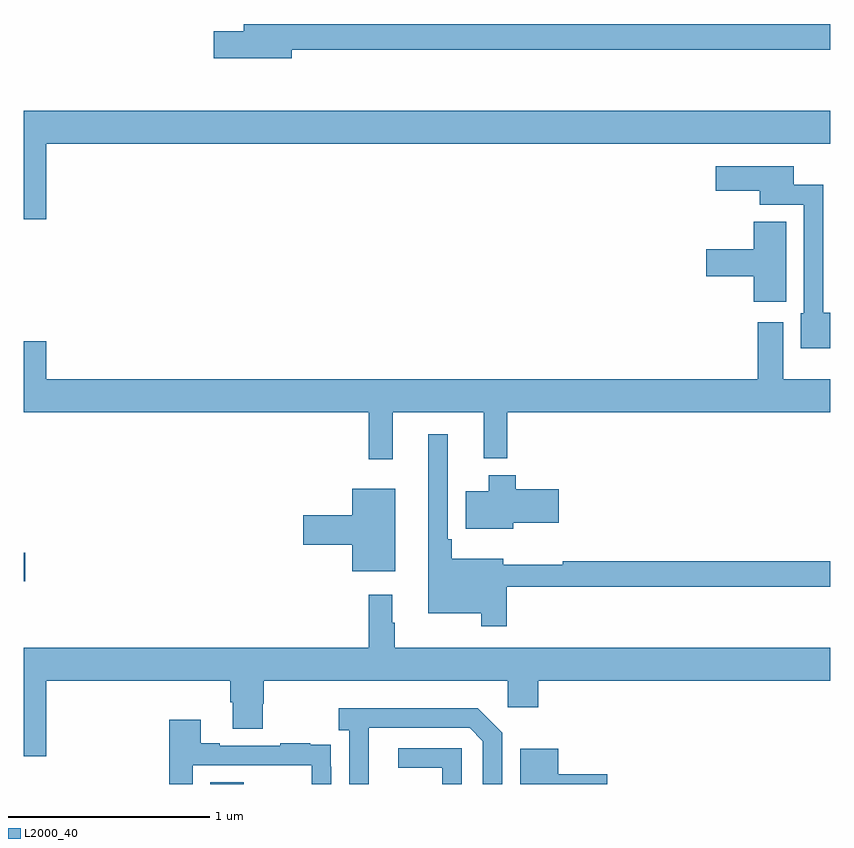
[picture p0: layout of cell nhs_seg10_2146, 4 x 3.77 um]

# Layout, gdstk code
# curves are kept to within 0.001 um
import gdstk
lib = gdstk.Library(unit=1e-6, precision=1e-09)
def R(c, l, rs):  # rectangles x0, y0, x1, y1
    for r in rs: c.add(gdstk.rectangle(r[:2], r[2:], *l))
def P(c, l, *ps):  # polygons
    for p in ps: c.add(gdstk.Polygon(p, *l))
L2000_40 = (2000, 40)

nhs_seg10_2146 = lib.new_cell('nhs_seg10_2146')
R(nhs_seg10_2146, L2000_40, [(225.926,1270.5,226.09,1270.508), (225,1271.506,225.007,1271.648)])
P(nhs_seg10_2146, L2000_40, [(226.33,1274.142),(229,1274.142),(229,1274.27),(226.091,1274.27),(226.091,1274.234),(225.942,1274.234),(225.942,1274.099),(226.33,1274.099)],
  [(225.112,1273.676),(229,1273.676),(229,1273.84),(225,1273.84),(225,1273.302),(225.112,1273.302)],
  [(229,1272.838),(228.966,1272.838),(228.966,1273.472),(228.82,1273.472),(228.82,1273.564),(228.432,1273.564),(228.432,1273.442),(228.65,1273.442),(228.65,1273.374),(228.87,1273.374),(228.87,1272.834),(228.854,1272.834),(228.854,1272.662),(229,1272.662)],
  [(228.781,1273.289),(228.62,1273.289),(228.62,1273.153),(228.384,1273.153),(228.384,1273.019),(228.62,1273.019),(228.62,1272.891),(228.781,1272.891)],
  [(226.829,1272.344),(227.282,1272.344),(227.282,1272.116),(227.399,1272.116),(227.399,1272.344),(229,1272.344),(229,1272.508),(228.766,1272.508),(228.766,1272.79),(228.641,1272.79),(228.641,1272.508),(225.112,1272.508),(225.112,1272.697),(225,1272.697),(225,1272.344),(226.711,1272.344),(226.711,1272.111),(226.829,1272.111)],
  [(227.396,1271.478),(229,1271.478),(229,1271.606),(227.673,1271.606),(227.673,1271.588),(227.377,1271.588),(227.377,1271.617),(227.123,1271.617),(227.123,1271.713),(227.103,1271.713),(227.103,1272.235),(227.006,1272.235),(227.006,1271.348),(227.268,1271.348),(227.268,1271.283),(227.396,1271.283)],
  [(227.428,1271.795),(227.653,1271.795),(227.653,1271.961),(227.441,1271.961),(227.441,1272.031),(227.306,1272.031),(227.306,1271.953),(227.192,1271.953),(227.192,1271.765),(227.428,1271.765)],
  [(226.843,1271.965),(226.628,1271.965),(226.628,1271.834),(226.386,1271.834),(226.386,1271.687),(226.628,1271.687),(226.628,1271.555),(226.843,1271.555)],
  [(226.828,1271.3),(226.828,1271.44),(226.711,1271.44),(226.711,1271.176),(225,1271.176),(225,1270.638),(225.112,1270.638),(225.112,1271.012),(226.025,1271.012),(226.025,1270.906),(226.037,1270.906),(226.037,1270.774),(226.185,1270.774),(226.185,1270.899),(226.19,1270.899),(226.19,1271.012),(227.4,1271.012),(227.4,1270.881),(227.552,1270.881),(227.552,1271.012),(229,1271.012),(229,1271.176),(226.84,1271.176),(226.84,1271.3)],
  [(226.71,1270.579),(226.711,1270.779),(227.211,1270.779),(227.277,1270.713),(227.277,1270.5),(227.373,1270.5),(227.373,1270.755),(227.252,1270.876),(226.563,1270.876),(226.563,1270.766),(226.614,1270.766),(226.614,1270.5),(226.71,1270.5)],
  [(225.837,1270.593),(226.428,1270.593),(226.428,1270.5),(226.524,1270.5),(226.524,1270.586),(226.523,1270.586),(226.523,1270.695),(226.421,1270.695),(226.421,1270.702),(226.273,1270.702),(226.273,1270.689),(225.973,1270.689),(225.973,1270.702),(225.877,1270.702),(225.877,1270.819),(225.721,1270.819),(225.721,1270.5),(225.837,1270.5)],
  [(227.172,1270.677),(226.857,1270.677),(226.857,1270.581),(227.076,1270.581),(227.076,1270.5),(227.172,1270.5)],
  [(227.893,1270.548),(227.65,1270.548),(227.65,1270.675),(227.462,1270.675),(227.462,1270.5),(227.893,1270.5)])

lib.write_gds('nhs_seg10_2146.gds')
